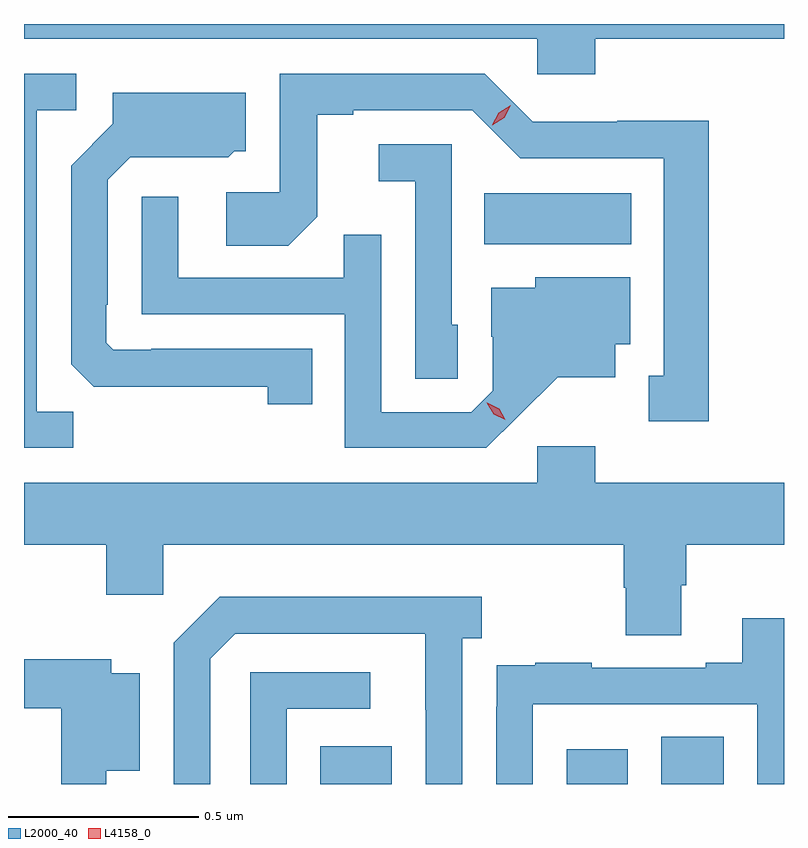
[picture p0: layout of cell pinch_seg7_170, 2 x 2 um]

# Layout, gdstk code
import gdstk
lib = gdstk.Library(unit=1e-6, precision=1e-09)
def R(c, l, rs):  # rectangles x0, y0, x1, y1
    for r in rs: c.add(gdstk.rectangle(r[:2], r[2:], *l))
def P(c, l, *ps):  # polygons
    for p in ps: c.add(gdstk.Polygon(p, *l))
L2000_40 = (2000, 40)
L4158_0 = (4158, 0)

pinch_seg7_170 = lib.new_cell('pinch_seg7_170')
R(pinch_seg7_170, L2000_40, [(1048.025,1027.959,1048.213,1028.059), (1048.673,1027.959,1048.834,1028.05), (1048.922,1027.959,1049.086,1028.084), (1048.456,1029.38,1048.843,1029.514)])
P(pinch_seg7_170, L2000_40, [(1048.748,1029.92),(1049.245,1029.92),(1049.245,1029.959),(1047.245,1029.959),(1047.245,1029.92),(1048.596,1029.92),(1048.596,1029.827),(1048.748,1029.827)],
  [(1049.047,1029.704),(1048.806,1029.704),(1048.806,1029.702),(1048.584,1029.702),(1048.458,1029.828),(1047.918,1029.828),(1047.918,1029.516),(1047.777,1029.516),(1047.777,1029.376),(1047.941,1029.376),(1048.017,1029.452),(1048.017,1029.72),(1048.111,1029.72),(1048.111,1029.732),(1048.425,1029.732),(1048.551,1029.606),(1048.928,1029.606),(1048.928,1029.033),(1048.889,1029.033),(1048.889,1028.913),(1049.047,1028.913)],
  [(1047.375,1028.939),(1047.279,1028.939),(1047.279,1029.732),(1047.382,1029.732),(1047.382,1029.828),(1047.245,1029.828),(1047.245,1028.844),(1047.375,1028.844)],
  [(1048.004,1029.105),(1047.58,1029.105),(1047.58,1029.102),(1047.48,1029.102),(1047.462,1029.12),(1047.462,1029.22),(1047.465,1029.22),(1047.465,1029.549),(1047.525,1029.609),(1047.648,1029.609),(1047.648,1029.608),(1047.782,1029.608),(1047.798,1029.624),(1047.829,1029.624),(1047.829,1029.778),(1047.479,1029.778),(1047.479,1029.696),(1047.369,1029.586),(1047.369,1029.064),(1047.428,1029.005),(1047.529,1029.005),(1047.529,1029.004),(1047.886,1029.004),(1047.886,1028.958),(1048.004,1028.958)],
  [(1048.386,1029.168),(1048.371,1029.168),(1048.371,1029.642),(1048.179,1029.642),(1048.179,1029.545),(1048.275,1029.545),(1048.275,1029.025),(1048.386,1029.025)],
  [(1048.546,1028.927),(1048.649,1029.029),(1048.801,1029.029),(1048.801,1029.116),(1048.84,1029.116),(1048.84,1029.292),(1048.59,1029.292),(1048.59,1029.265),(1048.475,1029.265),(1048.475,1029.136),(1048.479,1029.136),(1048.479,1028.994),(1048.422,1028.937),(1048.185,1028.937),(1048.185,1029.404),(1048.087,1029.404),(1048.087,1029.291),(1047.651,1029.291),(1047.651,1029.505),(1047.555,1029.505),(1047.555,1029.195),(1048.089,1029.195),(1048.089,1028.844),(1048.462,1028.844)],
  [(1048.975,1028.482),(1048.988,1028.482),(1048.988,1028.588),(1049.245,1028.588),(1049.245,1028.752),(1048.748,1028.752),(1048.748,1028.848),(1048.596,1028.848),(1048.596,1028.752),(1047.245,1028.752),(1047.245,1028.588),(1047.461,1028.588),(1047.461,1028.457),(1047.612,1028.457),(1047.612,1028.588),(1048.823,1028.588),(1048.823,1028.475),(1048.828,1028.475),(1048.828,1028.35),(1048.975,1028.35)],
  [(1047.735,1028.289),(1047.801,1028.355),(1048.301,1028.355),(1048.301,1028.155),(1048.302,1028.155),(1048.302,1027.959),(1048.398,1027.959),(1048.398,1028.342),(1048.45,1028.342),(1048.45,1028.452),(1047.76,1028.452),(1047.639,1028.331),(1047.639,1027.959),(1047.735,1027.959)],
  [(1048.584,1028.169),(1049.175,1028.169),(1049.175,1027.959),(1049.245,1027.959),(1049.245,1028.395),(1049.135,1028.395),(1049.135,1028.278),(1049.039,1028.278),(1049.039,1028.265),(1048.739,1028.265),(1048.739,1028.278),(1048.591,1028.278),(1048.591,1028.271),(1048.489,1028.271),(1048.489,1028.162),(1048.488,1028.162),(1048.488,1027.959),(1048.584,1027.959)],
  [(1047.461,1027.994),(1047.55,1027.994),(1047.55,1028.251),(1047.474,1028.251),(1047.474,1028.287),(1047.245,1028.287),(1047.245,1028.158),(1047.343,1028.158),(1047.343,1027.959),(1047.461,1027.959)],
  [(1047.936,1028.157),(1048.156,1028.157),(1048.156,1028.253),(1047.84,1028.253),(1047.84,1027.959),(1047.936,1027.959)])
P(pinch_seg7_170, L4158_0, [(1048.477,1029.693),(1048.477,1029.694),(1048.494,1029.726),(1048.526,1029.745),(1048.526,1029.745),(1048.526,1029.745),(1048.509,1029.712),(1048.477,1029.693)],
  [(1048.512,1028.917),(1048.481,1028.932),(1048.463,1028.962),(1048.463,1028.962),(1048.464,1028.962),(1048.495,1028.947),(1048.512,1028.918),(1048.512,1028.917)])

lib.write_gds('pinch_seg7_170.gds')
